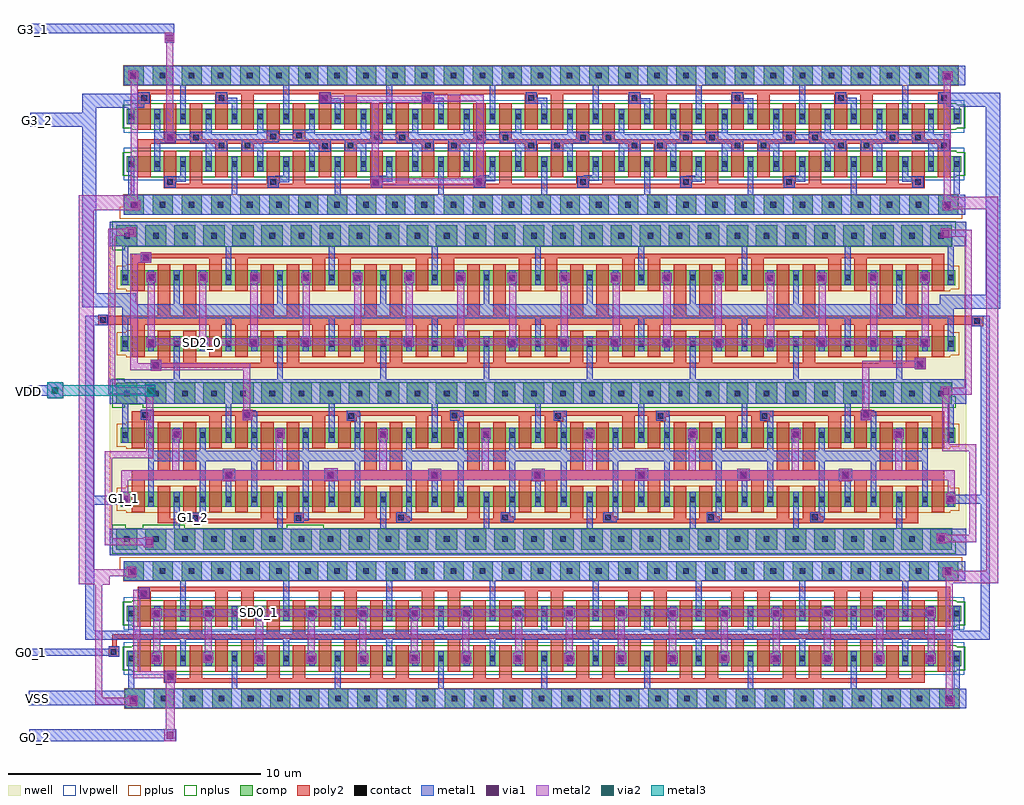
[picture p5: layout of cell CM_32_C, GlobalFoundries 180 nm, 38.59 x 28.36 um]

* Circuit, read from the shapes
.subckt CM_32_C G0_1 G0_2 G1_1 G1_2 G3_1 G3_2 SD0_1 SD2_0 VDD VSS
XM1 SD0_1 G0_1 VSS VSS nfet_03v3 w=0.6u l=0.5u m=32
XM2 SD0_1 G0_2 G1_1 VSS nfet_03v3 w=0.6u l=0.5u m=32
XM3 G3_1 G3_1 VSS VSS nfet_03v3 w=0.6u l=0.5u m=32
XM4 G3_1 G3_2 G3_2 VSS nfet_03v3 w=0.6u l=0.5u m=32
XM5 G1_2 G1_1 G1_1 VDD pfet_03v3 w=0.6u l=0.5u m=32
XM6 G1_2 G1_2 VDD VDD pfet_03v3 w=0.6u l=0.5u m=32
XM7 SD2_0 G1_1 G3_2 VDD pfet_03v3 w=0.6u l=0.5u m=32
XM8 SD2_0 G1_2 VDD VDD pfet_03v3 w=0.6u l=0.5u m=32
.ends

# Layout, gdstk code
import gdstk
lib = gdstk.Library(unit=1e-6, precision=1e-09)
def R(c, l, rs):  # rectangles x0, y0, x1, y1
    for r in rs: c.add(gdstk.rectangle(r[:2], r[2:], *l))
def A(c, l, x, y, w, h, nx, ny, dx, dy):  # array of equal rectangles
    R(c, l, [(x+i*dx, y+j*dy, x+i*dx+w, y+j*dy+h) for i in range(nx) for j in range(ny)])
nwell = (21, 0)
comp = (22, 0)
poly2 = (30, 0)
pplus = (31, 0)
nplus = (32, 0)
contact = (33, 0)
metal1 = (34, 0)
via1 = (35, 0)
metal2 = (36, 0)
via2 = (38, 0)
metal3 = (42, 0)
lvpwell = (204, 0)

pmos_3p3_dvr9e7 = lib.new_cell('pmos_3p3_DVR9E7')
R(pmos_3p3_dvr9e7, nwell, [(-16.93,-0.95,16.93,0.95)])
R(pmos_3p3_dvr9e7, comp, [(-16.5,-0.3,16.5,0.3)])
A(pmos_3p3_dvr9e7, poly2, -16.06, -0.52, 0.5, 1.04, 32, 1, 1.02, 0)
R(pmos_3p3_dvr9e7, pplus, [(-16.29,-0.53,16.29,-0.46), (-16.66,-0.46,16.66,0.46), (-16.29,0.46,16.29,0.53)])
A(pmos_3p3_dvr9e7, contact, -16.43, -0.11, 0.22, 0.22, 33, 1, 1.02, 0)
A(pmos_3p3_dvr9e7, metal1, -16.435, -0.29, 0.23, 0.58, 33, 1, 1.02, 0)

nmos_3p3_9nplv7 = lib.new_cell('nmos_3p3_9NPLV7')
R(nmos_3p3_9nplv7, comp, [(-16.5,-0.3,16.5,0.3)])
A(nmos_3p3_9nplv7, poly2, -16.06, -0.52, 0.5, 1.04, 32, 1, 1.02, 0)
R(nmos_3p3_9nplv7, nplus, [(-16.29,-0.53,16.29,-0.46), (-16.66,-0.46,16.66,0.46), (-16.29,0.46,16.29,0.53)])
A(nmos_3p3_9nplv7, contact, -16.43, -0.11, 0.22, 0.22, 33, 1, 1.02, 0)
A(nmos_3p3_9nplv7, metal1, -16.435, -0.29, 0.23, 0.58, 33, 1, 1.02, 0)
R(nmos_3p3_9nplv7, lvpwell, [(-16.62,-0.64,16.62,0.64)])

cm_32_c = lib.new_cell('CM_32_C')
R(cm_32_c, nwell, [(-0.55,4.73,33.315,5.985), (-0.505,5.985,33.315,6.655), (-0.55,7.52,33.245,7.885), (-0.55,7.885,33.31,8.52), (-0.55,8.52,33.245,9.42), (-0.55,9.42,1.35,10.42), (8.805,10.03,9.34,10.42), (16.98,10.03,17.515,10.42), (21.035,10.03,21.57,10.42), (25.15,10.03,25.685,10.42), (12.885,10.04,13.42,10.42), (4.685,10.06,5.22,10.42), (29.145,10.06,29.68,10.42), (-0.55,10.42,33.315,11.675), (-0.55,11.675,33.31,13.575), (-0.55,14.035,33.31,15.935), (-0.55,16.22,33.31,17.905)])
A(cm_32_c, comp, 0.04, -1.335, 0.785, 0.78, 29, 1, 1.15, 0)
A(cm_32_c, comp, 0, 3.71, 0.785, 0.78, 29, 2, 1.15, 14.485)
A(cm_32_c, comp, -0.305, 4.94, 0.84, 0.835, 29, 2, 1.15, 5.765)
A(cm_32_c, comp, -0.305, 16.935, 0.84, 0.835, 29, 1, 1.15, 0)
A(cm_32_c, comp, 0, 23.3, 0.785, 0.78, 29, 1, 1.15, 0)
A(cm_32_c, poly2, 5.42, 6.175, 0.5, 0.24, 7, 1, 4.08, 0)
A(cm_32_c, poly2, 3.38, 9.99, 0.5, 0.24, 8, 1, 4.08, 0)
A(cm_32_c, poly2, 16.64, 9.99, 0.5, 0.04, 3, 1, 4.08, 0)
A(cm_32_c, poly2, 1.58, 19.41, 0.5, 0.32, 7, 1, 4.08, 0)
A(cm_32_c, poly2, 2.6, 19.41, 0.5, 0.26, 7, 1, 4.08, 0)
A(cm_32_c, poly2, 3.62, 22.555, 0.5, 0.39, 8, 1, 4.08, 0)
A(cm_32_c, poly2, 4.64, 22.59, 0.5, 0.355, 7, 1, 4.08, 0)
R(cm_32_c, poly2, [(1.58,-0.32,31.66,-0.14), (1.58,-0.14,2.08,0.18), (2.6,-0.14,3.1,0.14), (5.66,-0.14,6.16,0.14), (6.68,-0.14,7.18,0.14), (9.74,-0.14,10.24,0.135), (10.76,-0.14,11.26,0.14), (13.82,-0.14,14.32,0.13), (14.84,-0.14,15.34,0.13), (17.9,-0.14,18.4,0.12), (18.92,-0.14,19.42,0.12), (21.98,-0.14,22.48,0.135), (23,-0.14,23.5,0.135), (26.06,-0.14,26.56,0.135), (27.08,-0.14,27.58,0.13), (30.14,-0.14,30.64,0.135), (31.16,-0.14,31.66,0.14), (-0.585,0.7,-0.185,1.115), (0.56,0.84,1.06,1.415), (3.62,0.84,4.12,1.415), (4.64,0.84,5.14,1.415), (7.7,0.84,8.2,1.415), (8.72,0.84,9.22,1.415), (11.78,0.84,12.28,1.415), (12.8,0.84,13.3,1.415), (15.86,0.84,16.36,1.415), (16.88,0.84,17.38,1.415), (19.94,0.84,20.44,1.415), (20.96,0.84,21.46,1.415), (24.02,0.84,24.52,1.415), (25.04,0.84,25.54,1.415), (28.1,0.84,28.6,1.415), (29.12,0.84,29.62,1.415), (32.18,0.84,32.68,1.415), (-0.46,1.115,-0.28,1.415), (-0.46,1.415,32.68,1.595), (1.58,1.595,2.08,1.915), (2.6,1.595,3.1,1.915), (5.66,1.595,6.16,1.91), (6.68,1.595,7.18,1.91), (9.74,1.595,10.24,1.905), (10.76,1.595,11.26,1.9), (13.82,1.595,14.32,1.91), (14.84,1.595,15.34,1.905), (17.9,1.595,18.4,1.9), (18.92,1.595,19.42,1.905), (21.98,1.595,22.48,1.905), (23,1.595,23.5,1.905), (26.06,1.595,26.56,1.905), (27.08,1.595,27.58,1.905), (30.14,1.595,30.64,1.915), (31.16,1.595,31.66,1.905), (0.56,2.94,1.06,3.295), (3.62,2.94,4.12,3.295), (4.64,2.94,5.14,3.295), (7.7,2.94,8.2,3.295), (8.72,2.94,9.22,3.295), (11.78,2.94,12.28,3.295), (12.8,2.94,13.3,3.295), (15.86,2.94,16.36,3.295), (16.88,2.94,17.38,3.295), (19.94,2.94,20.44,3.295), (20.96,2.94,21.46,3.295), (24.02,2.94,24.52,3.295), (25.04,2.94,25.54,3.295), (28.1,2.94,28.6,3.295), (29.12,2.94,29.62,3.295), (32.18,2.94,32.68,3.295), (0.56,3.295,32.68,3.475), (1.34,5.985,31.42,6.175), (1.34,6.175,1.84,6.485), (2.36,6.175,3.155,6.245), (6.44,6.175,7.125,6.41), (10.52,6.175,11.3,6.255), (14.6,6.175,15.42,6.26), (18.68,6.175,19.485,6.26), (22.76,6.175,23.57,6.27), (26.84,6.175,27.665,6.27), (30.92,6.175,31.42,6.415), (2.36,6.245,3.02,6.41), (10.52,6.255,11.165,6.415), (14.6,6.26,15.285,6.415), (18.68,6.26,19.35,6.415), (22.76,6.27,23.435,6.415), (26.84,6.27,27.53,6.415), (2.36,6.41,2.86,6.415), (6.44,6.41,6.94,6.415), (10.765,6.415,11.165,6.42), (14.885,6.415,15.285,6.425), (18.95,6.415,19.35,6.425), (23.035,6.415,23.435,6.435), (27.13,6.415,27.53,6.435), (0.32,7.235,0.82,7.695), (3.38,7.235,3.88,7.695), (4.4,7.235,4.9,7.695), (7.46,7.235,7.96,7.695), (8.48,7.235,8.98,7.695), (11.54,7.235,12.04,7.695), (12.56,7.235,13.06,7.695), (15.62,7.235,16.12,7.695), (16.64,7.235,17.14,7.695), (19.7,7.235,20.2,7.695), (20.72,7.235,21.22,7.695), (23.78,7.235,24.28,7.695), (24.8,7.235,25.3,7.695), (27.86,7.235,28.36,7.695), (28.88,7.235,29.38,7.695), (31.94,7.235,32.44,7.695), (0.32,7.695,32.44,8.075), (1.34,8.075,1.84,8.95), (2.36,8.075,2.86,8.95), (5.42,8.075,5.92,8.95), (6.44,8.075,6.94,8.95), (9.5,8.075,10,8.95), (10.52,8.075,11.02,8.95), (13.58,8.075,14.08,8.95), (14.6,8.075,15.1,8.95), (17.66,8.075,18.16,8.95), (18.68,8.075,19.18,8.95), (21.74,8.075,22.24,8.95), (22.76,8.075,23.26,8.95), (25.82,8.075,26.32,8.95), (26.84,8.075,27.34,8.95), (29.9,8.075,30.4,8.95), (30.92,8.075,31.42,8.95), (0.32,9.92,0.82,10.065), (4.4,9.99,4.9,10.06), (8.48,9.99,8.98,10.03), (12.56,9.99,13.06,10.04), (28.88,9.99,29.38,10.06), (8.48,10.03,9.205,10.195), (16.64,10.03,17.38,10.195), (20.72,10.03,21.435,10.195), (24.8,10.03,25.55,10.195), (12.56,10.04,13.285,10.205), (4.4,10.06,5.085,10.225), (28.88,10.06,29.545,10.225), (0.32,10.065,1.06,10.23), (8.48,10.195,9.34,10.23), (16.64,10.195,17.515,10.23), (20.72,10.195,21.57,10.23), (24.8,10.195,25.685,10.23), (12.56,10.205,13.42,10.23), (4.4,10.225,5.22,10.23), (28.88,10.225,29.68,10.23), (0.32,10.23,32.44,10.42), (0.665,10.42,1.06,10.475), (4.69,10.42,5.085,10.47), (8.81,10.42,9.205,10.44), (12.89,10.42,13.285,10.45), (16.985,10.42,17.38,10.44), (21.04,10.42,21.435,10.44), (25.155,10.42,25.55,10.44), (29.15,10.42,29.545,10.47), (1.06,12.02,1.48,12.135), (31.275,12.08,31.7,12.135), (1.06,12.135,31.7,12.325), (1.06,12.325,1.84,12.46), (2.36,12.325,2.86,12.565), (5.42,12.325,5.92,12.565), (6.44,12.325,6.94,12.565), (9.5,12.325,10,12.565), (10.52,12.325,11.02,12.565), (13.58,12.325,14.08,12.565), (14.6,12.325,15.1,12.565), (17.66,12.325,18.16,12.565), (18.68,12.325,19.18,12.565), (21.74,12.325,22.24,12.565), (22.76,12.325,23.26,12.565), (25.82,12.325,26.32,12.565), (26.84,12.325,27.34,12.565), (29.9,12.325,30.4,12.565), (30.92,12.325,31.7,12.535), (1.34,12.46,1.84,12.565), (30.92,12.535,31.42,12.565), (0.32,13.385,0.82,13.845), (3.38,13.385,3.88,13.845), (4.4,13.385,4.9,13.845), (7.46,13.385,7.96,13.845), (8.48,13.385,8.98,13.845), (11.54,13.385,12.04,13.845), (12.56,13.385,13.06,13.845), (15.62,13.385,16.12,13.845), (16.64,13.385,17.14,13.845), (19.7,13.385,20.2,13.845), (20.72,13.385,21.22,13.845), (23.78,13.385,24.28,13.845), (24.8,13.385,25.3,13.845), (27.86,13.385,28.36,13.845), (28.88,13.385,29.38,13.845), (31.94,13.385,32.44,13.845), (33.525,13.775,33.975,13.845), (-1,13.825,-0.635,13.845), (-1,13.845,33.975,14.2), (-1,14.2,-0.635,14.225), (1.34,14.2,1.84,15.18), (2.36,14.2,2.86,15.18), (5.42,14.2,5.92,15.18), (6.44,14.2,6.94,15.18), (9.5,14.2,10,15.18), (10.52,14.2,11.02,15.18), (13.58,14.2,14.08,15.18), (14.6,14.2,15.1,15.18), (17.66,14.2,18.16,15.18), (18.68,14.2,19.18,15.18), (21.74,14.2,22.24,15.18), (22.76,14.2,23.26,15.18), (25.82,14.2,26.32,15.18), (26.84,14.2,27.34,15.18), (29.9,14.2,30.4,15.18), (30.92,14.2,31.42,15.18), (0.32,16.22,0.82,16.28), (3.38,16.22,3.88,16.46), (4.4,16.22,4.9,16.46), (7.46,16.22,7.96,16.46), (8.48,16.22,8.98,16.46), (11.54,16.22,12.04,16.46), (12.56,16.22,13.06,16.46), (15.62,16.22,16.12,16.46), (16.64,16.22,17.14,16.46), (19.7,16.22,20.2,16.46), (20.72,16.22,21.22,16.46), (23.78,16.22,24.28,16.46), (24.8,16.22,25.3,16.46), (27.86,16.22,28.36,16.46), (28.88,16.22,29.38,16.46), (31.94,16.22,32.44,16.46), (0.32,16.28,1.085,16.46), (0.32,16.46,32.44,16.65), (0.675,16.65,1.085,16.705), (1.58,19.23,31.66,19.41), (30.14,19.41,30.64,19.67), (31.16,19.41,31.66,19.73), (7.7,20.66,8.2,20.995), (3.62,20.675,4.12,20.995), (4.64,20.675,5.14,20.995), (8.72,20.675,9.22,20.995), (11.78,20.675,12.28,20.995), (12.8,20.675,13.3,20.995), (15.86,20.675,16.36,20.995), (16.88,20.675,17.38,20.995), (19.94,20.675,20.44,20.995), (20.96,20.675,21.46,20.995), (24.02,20.675,24.52,20.995), (25.04,20.675,25.54,20.995), (28.1,20.675,28.6,20.995), (29.12,20.675,29.62,20.995), (32.18,20.675,32.68,20.995), (0.56,20.71,1.06,20.995), (0.56,20.995,32.68,21.175), (1.58,21.175,2.08,21.55), (2.6,21.175,3.1,21.55), (5.66,21.175,6.16,21.55), (6.68,21.175,7.18,21.575), (9.74,21.175,10.24,21.55), (10.76,21.175,11.26,21.55), (13.82,21.175,14.32,21.55), (14.84,21.175,15.34,21.55), (17.9,21.175,18.4,21.55), (18.92,21.175,19.42,21.55), (21.98,21.175,22.48,21.55), (23,21.175,23.5,21.55), (26.06,21.175,26.56,21.55), (27.08,21.175,27.58,21.55), (30.14,21.175,30.64,21.55), (31.16,21.175,31.66,21.55), (0.56,22.555,1.06,22.945), (0.56,22.945,32.68,23.125)])
R(cm_32_c, pplus, [(0.02,-1.355,33.045,-0.535), (-0.02,3.69,33.005,4.14), (-0.16,4.14,33.145,4.65), (-0.16,18.035,33.145,18.495), (-0.02,18.495,33.005,18.995), (-0.02,23.28,33.005,24.1)])
R(cm_32_c, nplus, [(-0.465,4.78,32.895,5.32), (-0.465,5.32,32.755,5.795), (-0.465,5.795,0.085,5.935), (0.76,5.795,2.41,5.935), (6.435,5.795,7.91,5.935), (-0.465,10.545,0.04,10.685), (0.76,10.545,32.895,10.685), (-0.465,10.685,32.895,11.01), (-0.465,11.01,32.755,11.56), (-0.465,11.56,0.04,11.7), (-0.465,16.775,0.04,16.915), (-0.465,16.915,32.755,17.315), (-0.465,17.315,32.895,17.93)])
A(cm_32_c, contact, 0.31, -1.06, 0.22, 0.22, 29, 1, 1.15, 0)
A(cm_32_c, contact, 0.27, 3.985, 0.22, 0.22, 29, 2, 1.15, 14.485)
A(cm_32_c, contact, 0.01, 5.25, 0.22, 0.22, 29, 2, 1.15, 5.765)
A(cm_32_c, contact, 0.01, 17.245, 0.22, 0.22, 29, 1, 1.15, 0)
A(cm_32_c, contact, 1.72, 19.37, 0.22, 0.22, 7, 1, 4.08, 0)
A(cm_32_c, contact, 3.76, 22.695, 0.22, 0.22, 8, 1, 4.08, 0)
A(cm_32_c, contact, 0.27, 23.575, 0.22, 0.22, 29, 1, 1.15, 0)
R(cm_32_c, contact, [(1.72,-0.18,1.94,0.04), (-0.51,0.795,-0.29,1.015), (0.7,3.115,0.92,3.335), (2.7,6.09,2.92,6.31), (6.805,6.09,7.025,6.31), (10.845,6.1,11.065,6.32), (14.965,6.105,15.185,6.325), (19.03,6.105,19.25,6.325), (23.115,6.115,23.335,6.335), (27.21,6.115,27.43,6.335), (4.04,7.775,4.26,7.995), (8.065,7.775,8.285,7.995), (12.18,7.775,12.4,7.995), (16.25,7.775,16.47,7.995), (20.36,7.775,20.58,7.995), (24.385,7.775,24.605,7.995), (28.42,7.775,28.64,7.995), (8.885,10.125,9.105,10.345), (17.06,10.125,17.28,10.345), (21.115,10.125,21.335,10.345), (25.23,10.125,25.45,10.345), (12.965,10.135,13.185,10.355), (4.765,10.155,4.985,10.375), (29.225,10.155,29.445,10.375), (0.74,10.16,0.96,10.38), (1.155,12.125,1.375,12.345), (31.395,12.165,31.615,12.385), (33.625,13.88,33.845,14.1), (-0.93,13.915,-0.71,14.135), (0.76,16.38,0.98,16.6), (31.3,19.37,31.52,19.59), (7.84,20.8,8.06,21.02), (3.76,20.815,3.98,21.035), (4.78,20.815,5,21.035), (8.86,20.815,9.08,21.035), (11.92,20.815,12.14,21.035), (12.94,20.815,13.16,21.035), (16,20.815,16.22,21.035), (17.02,20.815,17.24,21.035), (20.08,20.815,20.3,21.035), (21.1,20.815,21.32,21.035), (24.16,20.815,24.38,21.035), (25.18,20.815,25.4,21.035), (28.24,20.815,28.46,21.035), (29.26,20.815,29.48,21.035), (32.32,20.815,32.54,21.035), (1.72,21.135,1.94,21.355), (2.74,21.135,2.96,21.355), (9.88,21.135,10.1,21.355), (10.9,21.135,11.12,21.355), (13.96,21.135,14.18,21.355), (14.98,21.135,15.2,21.355), (18.04,21.135,18.26,21.355), (19.06,21.135,19.28,21.355), (22.12,21.135,22.34,21.355), (23.14,21.135,23.36,21.355), (26.2,21.135,26.42,21.355), (27.22,21.135,27.44,21.355), (30.28,21.135,30.5,21.355), (31.3,21.135,31.52,21.355), (5.8,21.17,6.02,21.39), (6.82,21.215,7.04,21.435), (0.7,22.695,0.92,22.915)])
A(cm_32_c, metal1, 0.185, -0.555, 0.23, 0.905, 9, 1, 4.08, 0)
A(cm_32_c, metal1, 2.225, 0.93, 0.23, 0.455, 8, 1, 4.08, 0)
A(cm_32_c, metal1, 0.185, 1.735, 0.23, 0.395, 4, 1, 4.08, 0)
A(cm_32_c, metal1, 2.225, 2.71, 0.23, 1, 8, 1, 4.08, 0)
A(cm_32_c, metal1, 1.985, 5.775, 0.23, 0.87, 8, 1, 4.08, 0)
A(cm_32_c, metal1, 3.005, 8.845, 0.23, 0.335, 8, 1, 4.08, 0)
A(cm_32_c, metal1, -0.055, 9.76, 0.23, 0.945, 9, 2, 4.08, 6.23)
A(cm_32_c, metal1, -0.055, 13.375, 0.23, 0.725, 3, 1, 4.08, 0)
A(cm_32_c, metal1, 9.365, 20.48, 0.23, 0.22, 12, 1, 2.04, 0)
A(cm_32_c, metal1, 8.745, 21.02, 1.47, 0.115, 12, 1, 2.04, 0)
A(cm_32_c, metal1, 19.565, 21.47, 0.23, 0.34, 3, 1, 2.04, 0)
A(cm_32_c, metal1, 2.225, 22.36, 0.23, 0.94, 8, 1, 4.08, 0)
R(cm_32_c, metal1, [(-3.745,-2.625,2.065,-2.155), (0.04,-1.335,33.315,-1.205), (-3.765,-1.205,33.315,-0.64), (0.04,-0.64,33.315,-0.555), (1.605,-0.295,2.055,-0.265), (1.605,-0.265,2.06,0.155), (7.22,0.425,7.62,0.845), (9.27,0.425,9.67,0.845), (25.585,0.43,25.985,0.85), (27.615,0.43,28.015,0.85), (29.665,0.43,30.065,0.85), (31.7,0.435,32.1,0.855), (1.1,0.44,1.5,0.86), (5.185,0.44,5.585,0.86), (15.39,0.44,15.79,0.86), (17.41,0.44,17.81,0.86), (19.465,0.44,19.865,0.86), (21.5,0.44,21.9,0.86), (13.335,0.445,13.735,0.865), (11.305,0.46,11.705,0.88), (3.135,0.465,3.535,0.885), (23.535,0.465,23.935,0.885), (-0.585,0.7,-0.185,0.745), (-3.795,0.745,-0.185,1.03), (-0.585,1.03,-0.185,1.115), (-1.525,1.385,34.24,1.735), (-1.525,1.735,-1.175,6.72), (16.505,1.735,16.735,2.135), (20.585,1.735,20.815,2.135), (24.665,1.735,24.895,2.13), (28.745,1.735,28.975,2.135), (32.825,1.735,33.055,2.13), (33.89,1.735,34.24,6.76), (1.1,2.21,1.5,2.63), (5.17,2.22,5.57,2.64), (3.145,2.225,3.545,2.645), (7.215,2.225,7.615,2.645), (9.25,2.225,9.65,2.645), (11.305,2.225,11.705,2.645), (15.385,2.225,15.785,2.645), (21.51,2.225,21.91,2.645), (23.555,2.225,23.955,2.645), (25.605,2.225,26.005,2.645), (29.67,2.225,30.07,2.645), (13.34,2.23,13.74,2.65), (17.425,2.235,17.825,2.655), (19.48,2.235,19.88,2.655), (27.61,2.245,28.01,2.665), (31.7,2.245,32.1,2.665), (0.585,3,1.035,3.45), (0,3.71,33.275,4.49), (-0.55,4.73,33.315,5.775), (2.635,6.005,3.155,6.1), (6.74,6.005,7.125,6.085), (10.78,6.015,11.3,6.085), (14.9,6.02,15.42,6.125), (18.965,6.02,19.485,6.125), (23.05,6.03,23.57,6.13), (27.145,6.03,27.665,6.13), (6.74,6.085,7.315,6.405), (10.78,6.085,11.395,6.415), (2.635,6.1,3.235,6.405), (14.9,6.125,15.475,6.42), (18.965,6.125,19.555,6.42), (23.05,6.13,23.635,6.43), (27.145,6.13,27.715,6.43), (2.925,6.405,3.235,6.41), (7.03,6.405,7.315,6.41), (3.005,6.41,3.235,8.43), (7.085,6.41,7.315,8.43), (11.07,6.415,11.395,6.42), (11.165,6.42,11.395,8.43), (15.19,6.42,15.475,6.425), (19.255,6.42,19.555,6.425), (15.245,6.425,15.475,8.43), (19.325,6.425,19.555,8.43), (23.34,6.43,23.635,6.435), (27.435,6.43,27.715,6.435), (23.405,6.435,23.635,8.43), (27.485,6.435,27.715,8.43), (-1.525,6.72,0.15,6.745), (-1.525,6.745,0.24,7.07), (32.5,6.75,32.88,6.76), (32.5,6.76,34.24,7.11), (13.205,7.06,13.435,8.43), (31.565,7.06,31.795,8.43), (-1.525,7.07,-1.175,13.825), (-0.14,7.07,0.24,7.145), (17.285,7.085,17.515,8.43), (32.5,7.11,32.88,7.15), (33.89,7.11,34.24,13.775), (9.125,7.125,9.355,8.43), (25.445,7.135,25.675,8.43), (21.365,7.145,21.595,8.43), (29.525,7.175,29.755,8.43), (0.965,7.195,1.195,8.43), (5.045,7.21,5.275,8.43), (4.025,7.225,4.255,7.65), (8.105,7.225,8.335,7.655), (12.185,7.225,12.415,7.665), (16.265,7.225,16.495,7.655), (20.345,7.225,20.575,7.675), (24.425,7.225,24.655,7.665), (28.505,7.225,28.735,7.64), (28.275,7.64,28.795,7.665), (3.905,7.65,4.415,8.135), (7.925,7.655,8.455,7.665), (16.13,7.655,16.64,8.14), (7.925,7.665,8.46,8.15), (12.035,7.665,12.545,8.15), (24.25,7.665,24.76,8.15), (28.275,7.665,28.8,8.145), (20.22,7.675,20.73,8.16), (28.29,8.145,28.8,8.15), (7.925,8.15,8.455,8.155), (0.965,8.43,31.795,8.845), (0.965,8.845,1.195,10.07), (5.045,8.845,5.275,10.06), (9.125,8.845,9.355,10.03), (13.205,8.845,13.435,10.04), (17.285,8.845,17.515,10.035), (21.365,8.845,21.595,10.03), (25.445,8.845,25.675,10.03), (29.525,8.845,29.755,10.06), (18.215,9.29,18.595,9.69), (10.06,9.295,10.44,9.695), (1.9,9.3,2.28,9.7), (26.38,9.3,26.76,9.7), (22.3,9.305,22.68,9.705), (30.45,9.31,30.83,9.71), (14.13,9.315,14.51,9.715), (5.98,9.33,6.36,9.73), (9.11,10.03,9.355,10.035), (21.34,10.03,21.595,10.035), (25.445,10.03,25.685,10.035), (8.82,10.035,9.355,10.355), (16.995,10.035,17.515,10.435), (21.05,10.035,21.595,10.28), (25.165,10.035,25.685,10.435), (13.19,10.04,13.435,10.045), (12.9,10.045,13.435,10.38), (4.99,10.06,5.275,10.065), (29.45,10.06,29.755,10.065), (4.7,10.065,5.275,10.395), (29.16,10.065,29.755,10.4), (0.675,10.07,1.195,10.47), (21.05,10.28,21.57,10.435), (8.82,10.355,9.34,10.435), (12.9,10.38,13.42,10.445), (4.7,10.395,5.22,10.465), (29.16,10.4,29.68,10.465), (-0.55,10.705,33.315,11.675), (-3.02,10.925,-2.395,11.025), (-3.945,11.025,-2.395,11.435), (-3.02,11.435,-2.395,11.57), (1.985,11.675,2.215,12.795), (6.065,11.675,6.295,12.88), (10.145,11.675,10.375,12.86), (14.225,11.675,14.455,12.865), (18.305,11.675,18.535,12.845), (22.385,11.675,22.615,12.86), (26.465,11.675,26.695,12.85), (30.545,11.675,30.775,12.8), (1.06,12.02,1.48,12.46), (31.275,12.08,31.7,12.535), (0.885,12.94,1.27,13.335), (25.36,12.945,25.745,13.34), (2.94,12.95,3.325,13.345), (15.175,12.95,15.56,13.345), (21.285,12.95,21.67,13.345), (23.325,12.95,23.71,13.345), (13.115,12.96,13.5,13.355), (19.245,12.96,19.63,13.355), (31.485,12.96,31.87,13.355), (4.955,12.965,5.34,13.36), (17.2,12.965,17.585,13.36), (11.075,12.97,11.46,13.365), (27.4,12.97,27.785,13.365), (29.435,12.97,29.82,13.365), (9.04,12.975,9.425,13.37), (7.005,12.98,7.39,13.375), (24.425,13.345,24.655,14.1), (12.185,13.36,12.415,14.1), (16.265,13.375,16.495,14.1), (20.345,13.375,20.575,14.1), (28.505,13.375,28.735,14.1), (32.585,13.375,32.815,14.1), (33.525,13.775,34.24,14.2), (-1.525,13.825,-0.635,14.2), (-0.055,14.1,32.815,14.475), (-1,14.2,-0.635,14.225), (-0.055,14.475,34.645,14.52), (-1.64,14.52,34.645,14.655), (-1.64,14.655,0.5,15.075), (1.985,14.655,2.215,15.425), (6.065,14.655,6.295,15.445), (10.145,14.655,10.375,15.46), (14.225,14.655,14.455,15.43), (18.305,14.655,18.535,15.435), (22.385,14.655,22.615,15.425), (26.465,14.655,26.695,15.445), (30.545,14.655,30.775,15.435), (32.26,14.655,34.645,15.03), (34.09,15.03,34.645,22.46), (-1.64,15.075,-1.085,21.67), (13.12,15.49,13.505,15.885), (15.165,15.49,15.55,15.885), (17.22,15.49,17.605,15.885), (19.245,15.49,19.63,15.885), (9.045,15.495,9.43,15.89), (25.36,15.495,25.745,15.89), (27.405,15.495,27.79,15.89), (4.995,15.5,5.38,15.895), (21.275,15.5,21.66,15.895), (7.015,15.505,7.4,15.9), (11.095,15.505,11.48,15.9), (29.445,15.505,29.83,15.9), (23.325,15.51,23.71,15.905), (0.905,15.52,1.29,15.915), (2.94,15.52,3.325,15.915), (31.475,15.52,31.86,15.915), (0.675,16.28,1.085,16.705), (-0.55,16.935,33.31,17.905), (0,18.195,33.275,18.975), (0.185,18.975,0.415,19.95), (4.265,18.975,4.495,19.955), (8.345,18.975,8.575,19.93), (12.425,18.975,12.655,19.94), (16.505,18.975,16.735,19.935), (20.585,18.975,20.815,19.905), (24.665,18.975,24.895,19.93), (28.745,18.975,28.975,19.905), (32.825,18.975,33.055,19.915), (1.605,19.255,2.055,19.485), (5.685,19.255,6.135,19.47), (9.765,19.255,10.215,19.495), (13.845,19.255,14.295,19.515), (17.925,19.255,18.375,19.525), (22.005,19.255,22.455,19.495), (26.085,19.255,26.535,19.495), (31.185,19.255,31.635,19.485), (5.685,19.47,6.535,19.705), (1.605,19.485,2.455,19.705), (30.785,19.485,31.635,19.705), (9.765,19.495,10.615,19.705), (22.005,19.495,22.855,19.705), (26.085,19.495,26.935,19.705), (13.845,19.515,14.695,19.705), (17.925,19.525,18.775,19.705), (1.835,19.705,2.455,19.715), (5.98,19.705,6.535,19.735), (10.01,19.705,10.615,19.725), (14.065,19.705,14.695,19.745), (18.19,19.705,18.775,19.755), (22.23,19.705,22.855,19.725), (26.325,19.705,26.935,19.725), (30.785,19.705,31.435,19.715), (2.225,19.715,2.455,19.945), (30.785,19.715,31.015,19.955), (10.385,19.725,10.615,19.965), (22.625,19.725,22.855,19.955), (26.705,19.725,26.935,19.945), (6.305,19.735,6.535,19.95), (14.465,19.745,14.695,19.965), (18.545,19.755,18.775,19.95), (6.305,19.95,6.53,19.955), (18.545,19.95,18.77,19.955), (1.205,20.48,1.435,21.02), (3.245,20.48,3.475,20.7), (5.285,20.48,5.515,20.7), (7.325,20.48,7.555,20.685), (7.325,20.685,8.175,21.1), (3.245,20.7,4.095,21.02), (4.665,20.7,5.515,21.055), (8.745,20.7,9.595,21.02), (11.405,20.7,12.255,21.02), (12.825,20.7,13.675,21.02), (15.485,20.7,16.335,21.02), (16.905,20.7,17.755,21.02), (19.565,20.7,20.415,21.02), (20.985,20.7,21.835,21.02), (23.645,20.7,24.495,21.02), (25.065,20.7,25.915,21.02), (27.725,20.7,28.575,21.02), (29.145,20.7,29.995,21.02), (31.805,20.7,32.655,21.02), (1.205,21.02,2.055,21.135), (2.625,21.02,4.095,21.135), (4.665,21.055,6.135,21.135), (6.705,21.1,8.175,21.135), (1.205,21.135,32.655,21.15), (1.205,21.15,32.645,21.365), (1.205,21.365,2.055,21.47), (2.625,21.365,3.475,21.47), (5.285,21.365,6.135,21.505), (6.705,21.365,7.555,21.55), (9.365,21.365,10.215,21.47), (10.785,21.365,11.635,21.47), (13.445,21.365,14.295,21.47), (14.865,21.365,15.715,21.47), (17.525,21.365,18.375,21.47), (18.945,21.365,19.795,21.47), (21.605,21.365,22.455,21.47), (23.025,21.365,23.875,21.47), (25.685,21.365,26.535,21.47), (27.105,21.365,27.955,21.47), (29.765,21.365,30.615,21.47), (31.185,21.365,32.035,21.47), (1.205,21.47,1.435,21.825), (3.245,21.47,3.475,21.78), (9.365,21.47,9.595,21.84), (11.405,21.47,11.635,21.825), (13.445,21.47,13.675,21.82), (15.485,21.47,15.715,21.81), (17.525,21.47,17.755,21.845), (25.685,21.47,25.915,21.82), (27.725,21.47,27.955,21.835), (29.765,21.47,29.995,21.82), (31.805,21.47,32.035,21.815), (5.285,21.505,5.515,21.85), (7.325,21.55,7.555,21.85), (-3.69,21.67,-1.085,22.225), (-1.64,22.225,-1.085,22.41), (0.185,22.35,0.415,22.41), (4.265,22.35,4.495,22.58), (8.345,22.35,8.575,22.57), (12.425,22.35,12.655,22.58), (16.505,22.35,16.735,22.575), (20.585,22.35,20.815,22.57), (24.665,22.35,24.895,22.57), (28.745,22.35,28.975,22.58), (32.825,22.35,33.055,22.46), (-1.64,22.41,0.8,22.58), (32.52,22.46,34.645,22.58), (8.08,22.57,8.575,22.58), (20.32,22.57,20.815,22.58), (24.37,22.57,24.895,22.58), (11.805,22.575,12.19,22.58), (16.235,22.575,16.735,22.58), (-1.64,22.58,1.035,22.965), (3.645,22.58,4.495,22.81), (7.725,22.58,8.575,22.8), (11.805,22.58,12.655,22.81), (15.885,22.58,16.735,22.805), (19.965,22.58,20.815,22.8), (24.045,22.58,24.895,22.8), (28.125,22.58,28.975,22.81), (32.205,22.58,34.645,23.015), (7.725,22.8,8.175,23.03), (19.965,22.8,20.415,23.03), (24.045,22.8,24.495,23.03), (15.885,22.805,16.335,23.03), (3.645,22.81,4.095,23.03), (11.805,22.81,12.255,23.03), (28.125,22.81,28.575,23.03), (0.585,22.965,1.035,23.03), (32.205,23.015,32.655,23.03), (0,23.3,33.275,24.08), (1.625,24.99,2,25.36), (-3.705,25.36,2,25.73)])
R(cm_32_c, via1, [(1.7,-2.525,1.96,-2.265), (0.23,-1.16,0.49,-0.9), (32.545,-1.155,32.805,-0.895), (1.72,-0.195,1.98,0.065), (7.28,0.495,7.54,0.755), (9.33,0.495,9.59,0.755), (25.645,0.5,25.905,0.76), (27.675,0.5,27.935,0.76), (29.725,0.5,29.985,0.76), (31.76,0.505,32.02,0.765), (1.16,0.51,1.42,0.77), (5.245,0.51,5.505,0.77), (15.45,0.51,15.71,0.77), (17.47,0.51,17.73,0.77), (19.525,0.51,19.785,0.77), (21.56,0.51,21.82,0.77), (13.395,0.515,13.655,0.775), (11.365,0.53,11.625,0.79), (3.195,0.535,3.455,0.795), (23.595,0.535,23.855,0.795), (1.16,2.28,1.42,2.54), (5.23,2.29,5.49,2.55), (3.205,2.295,3.465,2.555), (7.275,2.295,7.535,2.555), (9.31,2.295,9.57,2.555), (11.365,2.295,11.625,2.555), (15.445,2.295,15.705,2.555), (21.57,2.295,21.83,2.555), (23.615,2.295,23.875,2.555), (25.665,2.295,25.925,2.555), (29.73,2.295,29.99,2.555), (13.4,2.3,13.66,2.56), (17.485,2.305,17.745,2.565), (19.54,2.305,19.8,2.565), (27.67,2.315,27.93,2.575), (31.76,2.315,32.02,2.575), (0.66,3.085,0.92,3.345), (32.46,3.925,32.72,4.185), (0.185,3.93,0.445,4.19), (0.86,5.11,1.12,5.37), (32.205,5.26,32.465,5.52), (-0.08,6.81,0.18,7.07), (32.56,6.815,32.82,7.075), (4.02,7.755,4.28,8.015), (8.045,7.755,8.305,8.015), (12.16,7.755,12.42,8.015), (16.23,7.755,16.49,8.015), (20.34,7.755,20.6,8.015), (24.365,7.755,24.625,8.015), (28.4,7.755,28.66,8.015), (18.275,9.355,18.535,9.615), (10.12,9.36,10.38,9.62), (1.96,9.365,2.22,9.625), (26.44,9.365,26.7,9.625), (22.36,9.37,22.62,9.63), (30.51,9.375,30.77,9.635), (14.19,9.38,14.45,9.64), (6.04,9.395,6.3,9.655), (4.75,10.135,5.01,10.395), (29.21,10.155,29.47,10.415), (32.375,11.06,32.635,11.32), (0.92,11.09,1.18,11.35), (-2.85,11.1,-2.59,11.36), (1.135,12.105,1.395,12.365), (31.355,12.145,31.615,12.405), (0.94,13.005,1.2,13.265), (25.415,13.01,25.675,13.27), (2.995,13.015,3.255,13.275), (15.23,13.015,15.49,13.275), (21.34,13.015,21.6,13.275), (23.38,13.015,23.64,13.275), (13.17,13.025,13.43,13.285), (19.3,13.025,19.56,13.285), (31.54,13.025,31.8,13.285), (5.01,13.03,5.27,13.29), (17.255,13.03,17.515,13.29), (11.13,13.035,11.39,13.295), (27.455,13.035,27.715,13.295), (29.49,13.035,29.75,13.295), (9.095,13.04,9.355,13.3), (7.06,13.045,7.32,13.305), (13.175,15.555,13.435,15.815), (15.22,15.555,15.48,15.815), (17.275,15.555,17.535,15.815), (19.3,15.555,19.56,15.815), (9.1,15.56,9.36,15.82), (25.415,15.56,25.675,15.82), (27.46,15.56,27.72,15.82), (5.05,15.565,5.31,15.825), (21.33,15.565,21.59,15.825), (7.07,15.57,7.33,15.83), (11.15,15.57,11.41,15.83), (29.5,15.57,29.76,15.83), (23.38,15.575,23.64,15.835), (0.96,15.585,1.22,15.845), (2.995,15.585,3.255,15.845), (31.53,15.585,31.79,15.845), (0.75,16.365,1.01,16.625), (32.37,17.325,32.63,17.585), (0.155,17.37,0.415,17.63), (32.435,18.425,32.695,18.685), (0.315,18.435,0.575,18.695), (9.83,19.33,10.09,19.59), (13.915,19.37,14.175,19.63), (1.695,21.115,1.955,21.375), (11.86,22.64,12.12,22.9), (7.795,22.67,8.055,22.93), (32.445,23.53,32.705,23.79), (0.24,23.555,0.5,23.815), (1.685,25.045,1.945,25.305)])
R(cm_32_c, metal2, [(1.6,-2.625,2.015,-2.62), (1.6,-2.62,2.05,-2.17), (1.635,-2.17,2.05,-2.165), (1.655,-2.165,2.01,-0.265), (0.16,-1.23,0.54,-1.195), (32.475,-1.225,32.855,-0.825), (-1.135,-1.195,0.54,-0.915), (-1.135,-0.915,-0.855,3.565), (0.16,-0.915,0.54,-0.83), (32.5,-0.825,32.78,3.62), (1.655,-0.265,2.06,-0.15), (0.37,-0.15,2.06,0.13), (0.37,0.13,0.65,3.015), (1.66,0.13,2.06,0.155), (7.22,0.425,7.62,0.845), (9.27,0.425,9.67,0.845), (25.585,0.43,25.985,0.85), (27.615,0.43,28.015,0.85), (29.665,0.43,30.065,0.85), (31.7,0.435,32.1,0.855), (1.1,0.44,1.5,0.86), (5.185,0.44,5.585,0.86), (15.39,0.44,15.79,0.86), (17.41,0.44,17.81,0.86), (19.465,0.44,19.865,0.86), (21.5,0.44,21.9,0.86), (13.335,0.445,13.735,0.865), (11.305,0.46,11.705,0.88), (3.135,0.465,3.535,0.885), (23.535,0.465,23.935,0.885), (7.27,0.845,7.55,2.225), (9.31,0.845,9.59,2.225), (25.665,0.85,25.945,2.225), (27.67,0.85,27.95,2.245), (29.75,0.85,30.03,2.225), (31.78,0.855,32.06,2.245), (1.16,0.86,1.44,2.21), (5.225,0.86,5.505,2.22), (15.48,0.86,15.76,2.225), (17.47,0.86,17.75,2.235), (19.53,0.86,19.81,2.235), (21.555,0.86,21.835,2.225), (13.385,0.865,13.665,2.23), (11.35,0.88,11.63,2.225), (3.205,0.885,3.485,2.225), (23.61,0.885,23.89,2.225), (1.1,2.21,1.5,2.3), (5.17,2.22,5.57,2.3), (3.145,2.225,3.545,2.3), (7.215,2.225,7.615,2.3), (9.25,2.225,9.65,2.3), (11.305,2.225,11.705,2.3), (15.385,2.225,15.785,2.3), (21.51,2.225,21.91,2.3), (23.555,2.225,23.955,2.3), (25.605,2.225,26.005,2.3), (29.67,2.225,30.07,2.3), (13.34,2.23,13.74,2.3), (17.425,2.235,17.825,2.3), (19.48,2.235,19.88,2.3), (27.61,2.245,28.01,2.3), (31.7,2.245,32.1,2.3), (1.1,2.3,32.1,2.58), (1.1,2.58,1.5,2.63), (3.145,2.58,3.545,2.645), (5.17,2.58,5.57,2.64), (7.215,2.58,7.615,2.645), (9.25,2.58,9.65,2.645), (11.305,2.58,11.705,2.645), (13.34,2.58,13.74,2.65), (15.385,2.58,15.785,2.645), (17.425,2.58,17.825,2.655), (19.48,2.58,19.88,2.655), (21.51,2.58,21.91,2.645), (23.555,2.58,23.955,2.645), (25.605,2.58,26.005,2.645), (27.61,2.58,28.01,2.665), (29.67,2.58,30.07,2.645), (31.7,2.58,32.1,2.665), (0.37,3.015,1,3.365), (0.6,3.365,1,3.435), (-1.135,3.565,-0.55,3.58), (-1.78,3.58,-0.55,3.885), (32.5,3.62,34.585,3.855), (32.39,3.855,34.585,4.11), (0.115,3.86,0.495,3.885), (-1.78,3.885,0.495,4.165), (32.39,4.11,33.21,4.115), (34.095,4.11,34.585,18.4), (32.39,4.115,32.78,4.2), (-1.78,4.165,-1.195,18.365), (0.115,4.165,0.495,4.26), (32.39,4.2,32.77,4.255), (0.79,5.04,1.17,5.12), (-0.745,5.12,1.17,5.4), (32.135,5.19,32.515,5.245), (32.135,5.245,33.71,5.525), (-0.745,5.4,-0.465,8.56), (0.79,5.4,1.17,5.44), (32.135,5.525,32.515,5.59), (33.43,5.525,33.71,8.825), (-0.14,6.745,0.24,7.145), (32.5,6.75,32.88,7.15), (-0.095,7.145,0.185,7.695), (32.575,7.15,32.855,7.695), (28.275,7.64,28.795,7.665), (3.905,7.65,4.415,7.695), (7.925,7.655,8.455,7.665), (16.13,7.655,16.64,7.695), (7.925,7.665,8.46,7.695), (12.035,7.665,12.545,7.695), (24.25,7.665,24.76,7.695), (28.275,7.665,28.8,7.695), (20.22,7.675,20.73,7.695), (-0.095,7.695,32.855,8.065), (-0.055,8.065,32.835,8.075), (1.92,8.075,2.2,9.3), (3.905,8.075,4.415,8.135), (6,8.075,6.28,9.33), (7.925,8.075,8.46,8.15), (10.11,8.075,10.39,9.295), (12.035,8.075,12.545,8.15), (14.155,8.075,14.435,9.315), (16.13,8.075,16.64,8.14), (18.255,8.075,18.535,9.29), (20.22,8.075,20.73,8.16), (22.335,8.075,22.615,9.305), (24.25,8.075,24.76,8.15), (26.405,8.075,26.685,9.3), (28.275,8.075,28.8,8.145), (30.495,8.075,30.775,9.31), (28.29,8.145,28.8,8.15), (7.925,8.15,8.455,8.155), (-0.745,8.56,1.175,8.84), (32.36,8.825,33.71,9.105), (0.895,8.84,1.175,11.015), (32.36,9.105,32.64,10.99), (18.215,9.29,18.595,9.69), (10.06,9.295,10.44,9.695), (1.9,9.3,2.28,9.7), (26.38,9.3,26.76,9.7), (22.3,9.305,22.68,9.705), (30.45,9.31,30.83,9.71), (14.13,9.315,14.51,9.715), (5.98,9.33,6.36,9.73), (4.7,10.065,5.085,10.465), (29.145,10.065,29.55,10.465), (4.725,10.465,5.005,12.04), (29.2,10.465,29.48,12.135), (-3.02,10.925,-2.395,11.57), (32.305,10.99,32.685,11.065), (0.85,11.015,1.23,11.085), (32.305,11.065,33.535,11.345), (-0.615,11.085,1.23,11.365), (32.305,11.345,32.685,11.39), (33.255,11.345,33.535,17.315), (-0.615,11.365,-0.335,17.36), (0.85,11.365,1.23,11.415), (1.06,12.02,1.48,12.04), (0.265,12.04,5.005,12.32), (31.275,12.08,31.7,12.135), (29.2,12.135,31.7,12.415), (0.265,12.32,0.545,16.28), (1.06,12.32,1.48,12.46), (31.275,12.415,31.7,12.535), (0.885,12.94,1.27,13.025), (25.36,12.945,25.745,13.025), (2.94,12.95,3.325,13.025), (15.175,12.95,15.56,13.025), (21.285,12.95,21.67,13.025), (23.325,12.95,23.71,13.025), (13.115,12.96,13.5,13.025), (19.245,12.96,19.63,13.025), (31.485,12.96,31.87,13.025), (4.955,12.965,5.34,13.025), (17.2,12.965,17.585,13.025), (11.075,12.97,11.46,13.025), (27.4,12.97,27.785,13.025), (29.435,12.97,29.82,13.025), (9.04,12.975,9.425,13.025), (7.005,12.98,7.39,13.025), (0.885,13.025,31.87,13.305), (0.885,13.305,1.27,13.335), (2.94,13.305,3.325,13.345), (4.955,13.305,5.34,13.36), (7.005,13.305,7.39,13.375), (9.04,13.305,9.425,13.37), (11.075,13.305,11.46,13.365), (13.115,13.305,13.5,13.355), (15.175,13.305,15.56,13.345), (17.2,13.305,17.585,13.36), (19.245,13.305,19.63,13.355), (21.285,13.305,21.67,13.345), (23.325,13.305,23.71,13.345), (25.36,13.305,25.745,13.34), (27.4,13.305,27.785,13.365), (29.435,13.305,29.82,13.365), (31.485,13.305,31.87,13.355), (0.945,13.335,1.225,15.52), (25.43,13.34,25.71,15.495), (2.975,13.345,3.255,15.52), (15.24,13.345,15.52,15.49), (21.34,13.345,21.62,15.5), (23.37,13.345,23.65,15.51), (13.19,13.355,13.47,15.49), (19.325,13.355,19.605,15.49), (31.55,13.355,31.83,15.52), (5.01,13.36,5.29,15.5), (17.28,13.36,17.56,15.49), (11.145,13.365,11.425,15.505), (27.485,13.365,27.765,15.495), (29.51,13.365,29.79,15.505), (9.11,13.37,9.39,15.495), (7.08,13.375,7.36,15.505), (13.12,15.49,13.505,15.885), (15.165,15.49,15.55,15.885), (17.22,15.49,17.605,15.885), (19.245,15.49,19.63,15.885), (9.045,15.495,9.43,15.89), (25.36,15.495,25.745,15.89), (27.405,15.495,27.79,15.89), (4.995,15.5,5.38,15.895), (21.275,15.5,21.66,15.895), (7.015,15.505,7.4,15.9), (11.095,15.505,11.48,15.9), (29.445,15.505,29.83,15.9), (23.325,15.51,23.71,15.905), (0.905,15.52,1.29,15.915), (2.94,15.52,3.325,15.915), (31.475,15.52,31.86,15.915), (0.265,16.28,1.085,16.65), (0.675,16.65,1.085,16.705), (32.3,17.27,32.675,17.29), (32.3,17.29,32.685,17.315), (0.105,17.315,0.48,17.36), (32.3,17.315,33.535,17.595), (-0.615,17.36,0.48,17.64), (32.3,17.595,32.685,17.64), (0.105,17.64,0.48,17.685), (32.31,17.64,32.685,17.66), (32.38,18.36,32.765,18.4), (-1.78,18.365,0.49,18.37), (-1.78,18.37,0.645,18.765), (32.38,18.4,34.585,18.755), (32.415,18.755,34.585,18.89), (-1.78,18.765,0.56,18.95), (32.415,18.89,32.695,23.465), (0.28,18.95,0.56,23.49), (9.775,19.265,10.16,19.345), (13.86,19.305,14.245,19.345), (9.775,19.345,14.245,19.625), (9.775,19.625,10.16,19.66), (13.86,19.625,14.245,19.7), (9.805,19.66,10.085,22.61), (13.945,19.7,14.225,22.65), (1.625,21.06,2.02,21.44), (1.675,21.44,1.955,24.99), (11.805,22.575,12.19,22.61), (7.74,22.605,8.125,22.61), (7.74,22.61,12.19,22.65), (7.74,22.65,14.225,22.89), (7.74,22.89,8.125,23), (11.805,22.89,14.225,22.93), (11.805,22.93,12.19,22.97), (32.39,23.465,32.775,23.86), (0.185,23.49,0.57,23.885), (1.625,24.99,2,25.385)])
R(cm_32_c, via2, [(0.92,11.09,1.18,11.35), (-2.85,11.1,-2.59,11.36)])
R(cm_32_c, metal3, [(-3.02,10.925,-2.395,11.025), (0.82,11,1.25,11.025), (-3.02,11.025,1.25,11.435), (-3.02,11.435,-2.395,11.57), (0.82,11.435,1.25,11.455)])
cm_32_c.add(gdstk.Reference(pmos_3p3_dvr9e7, (16.38,13.085)))
cm_32_c.add(gdstk.Reference(pmos_3p3_dvr9e7, (16.38,6.935)))
cm_32_c.add(gdstk.Reference(pmos_3p3_dvr9e7, (16.38,15.7)))
cm_32_c.add(gdstk.Reference(pmos_3p3_dvr9e7, (16.38,9.47)))
cm_32_c.add(gdstk.Reference(nmos_3p3_9nplv7, (16.62,20.19)))
cm_32_c.add(gdstk.Reference(nmos_3p3_9nplv7, (16.62,2.42)))
cm_32_c.add(gdstk.Reference(nmos_3p3_9nplv7, (16.62,0.64)))
cm_32_c.add(gdstk.Reference(nmos_3p3_9nplv7, (16.62,22.07)))
cm_32_c.add(gdstk.Label('SD0_1', (5.355,2.445), layer=34, texttype=10))
cm_32_c.add(gdstk.Label('G1_2', (2.77,6.21), layer=30, texttype=10))
cm_32_c.add(gdstk.Label('G1_1', (0.02,6.975), layer=34, texttype=10))
cm_32_c.add(gdstk.Label('SD2_0', (3.115,13.125), layer=34, texttype=10))
cm_32_c.add(gdstk.Label('G0_1', (-3.64,0.88), layer=34, texttype=10))
cm_32_c.add(gdstk.Label('G0_2', (-3.49,-2.495), layer=34, texttype=10))
cm_32_c.add(gdstk.Label('VSS', (-3.41,-0.935), layer=34, texttype=10))
cm_32_c.add(gdstk.Label('VDD', (-3.78,11.2), layer=34, texttype=10))
cm_32_c.add(gdstk.Label('G3_1', (-3.57,25.52), layer=34, texttype=10))
cm_32_c.add(gdstk.Label('G3_2', (-3.4,21.9), layer=34, texttype=10))

lib.write_gds('CM_32_C.gds')
